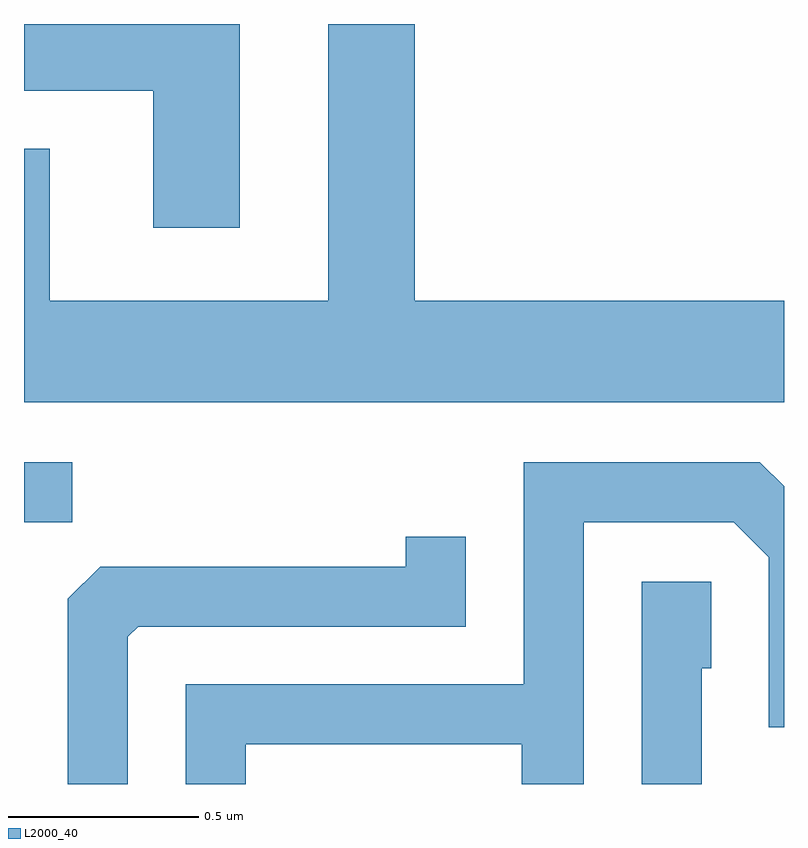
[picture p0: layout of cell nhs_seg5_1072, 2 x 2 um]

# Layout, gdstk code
import gdstk
lib = gdstk.Library(unit=1e-6, precision=1e-09)
def R(c, l, rs):  # rectangles x0, y0, x1, y1
    for r in rs: c.add(gdstk.rectangle(r[:2], r[2:], *l))
def P(c, l, *ps):  # polygons
    for p in ps: c.add(gdstk.Polygon(p, *l))
L2000_40 = (2000, 40)

nhs_seg5_1072 = lib.new_cell('nhs_seg5_1072')
R(nhs_seg5_1072, L2000_40, [(192.611,1509.761,192.738,1509.919)])
P(nhs_seg5_1072, L2000_40, [(194.611,1510.344),(193.639,1510.344),(193.639,1511.072),(193.411,1511.072),(193.411,1510.344),(192.679,1510.344),(192.679,1510.744),(192.611,1510.744),(192.611,1510.076),(194.611,1510.076)],
  [(193.179,1511.072),(192.611,1511.072),(192.611,1510.896),(192.951,1510.896),(192.951,1510.536),(193.179,1510.536)],
  [(193.194,1509.176),(193.921,1509.176),(193.921,1509.072),(194.084,1509.072),(194.084,1509.761),(194.479,1509.761),(194.571,1509.669),(194.571,1509.221),(194.611,1509.221),(194.611,1509.855),(194.547,1509.919),(193.926,1509.919),(193.926,1509.334),(193.036,1509.334),(193.036,1509.072),(193.194,1509.072)],
  [(192.884,1509.459),(192.912,1509.486),(193.774,1509.486),(193.774,1509.723),(193.616,1509.723),(193.616,1509.644),(192.812,1509.644),(192.726,1509.559),(192.726,1509.072),(192.884,1509.072)],
  [(194.394,1509.376),(194.419,1509.376),(194.419,1509.604),(194.236,1509.604),(194.236,1509.072),(194.394,1509.072)])

lib.write_gds('nhs_seg5_1072.gds')
